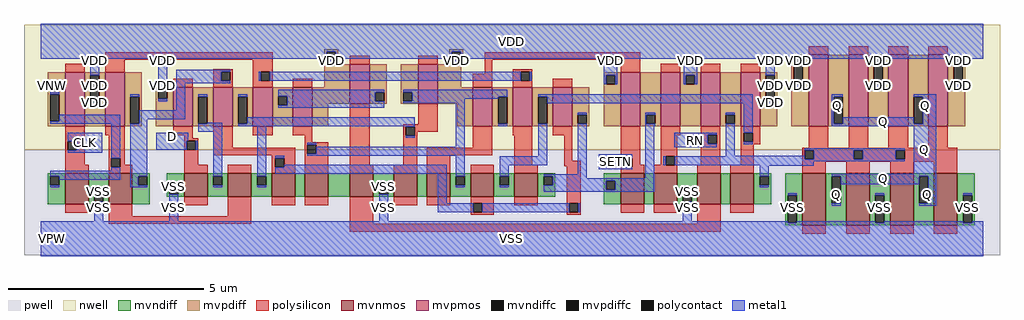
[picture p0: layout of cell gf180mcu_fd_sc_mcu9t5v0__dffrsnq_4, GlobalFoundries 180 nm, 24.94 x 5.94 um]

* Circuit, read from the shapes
.subckt gf180mcu_fd_sc_mcu9t5v0__dffrsnq_4 D RN SETN CLK Q VDD VNW VPW VSS
XM1 VSS CLK n1 VPW nfet_06v0 w=0.79u l=0.6u
XM2 n2 n1 VSS VPW nfet_06v0 w=0.79u l=0.6u
XM3 n3 D VSS VPW nfet_06v0 w=0.59u l=0.6u
XM4 n4 n1 n3 VPW nfet_06v0 w=0.59u l=0.6u
XM5 n5 n2 n4 VPW nfet_06v0 w=0.59u l=0.6u
XM6 n6 n7 n5 VPW nfet_06v0 w=0.59u l=0.6u
XM7 VSS RN n6 VPW nfet_06v0 w=0.59u l=0.6u
XM8 n8 n4 VSS VPW nfet_06v0 w=0.59u l=0.6u
XM9 n7 SETN n8 VPW nfet_06v0 w=0.59u l=0.6u
XM10 n9 n2 n7 VPW nfet_06v0 w=0.59u l=0.6u
XM11 n10 n1 n9 VPW nfet_06v0 w=0.59u l=0.6u
XM12 n11 SETN n10 VPW nfet_06v0 w=0.79u l=0.6u
XM13 VSS n12 n11 VPW nfet_06v0 w=0.79u l=0.6u
XM14 n13 RN VSS VPW nfet_06v0 w=0.79u l=0.6u
XM15 n12 n9 n13 VPW nfet_06v0 w=0.79u l=0.6u
XM16 Q n12 VSS VPW nfet_06v0 w=1.32u l=0.6u m=4
XM17 VDD CLK n1 VNW pfet_06v0 w=1.38u l=0.5u
XM18 n2 n1 VDD VNW pfet_06v0 w=1.38u l=0.5u
XM19 n3 D VDD VNW pfet_06v0 w=1u l=0.5u
XM20 n4 n2 n3 VNW pfet_06v0 w=1u l=0.5u
XM21 n14 n1 n4 VNW pfet_06v0 w=1u l=0.5u
XM22 VDD n7 n14 VNW pfet_06v0 w=1u l=0.5u
XM23 n14 RN VDD VNW pfet_06v0 w=1u l=0.5u
XM24 VDD n4 n7 VNW pfet_06v0 w=1u l=0.5u
XM25 n7 SETN VDD VNW pfet_06v0 w=1u l=0.5u
XM26 n9 n1 n7 VNW pfet_06v0 w=1u l=0.5u
XM27 n10 n2 n9 VNW pfet_06v0 w=1u l=0.5u
XM28 n10 SETN VDD VNW pfet_06v0 w=1.38u l=0.5u
XM29 VDD n12 n10 VNW pfet_06v0 w=1.38u l=0.5u
XM30 n12 RN VDD VNW pfet_06v0 w=1.38u l=0.5u
XM31 VDD n9 n12 VNW pfet_06v0 w=1.38u l=0.5u
XM32 Q n12 VDD VNW pfet_06v0 w=1.83u l=0.5u m=4
.ends

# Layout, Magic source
magic
tech gf180mcuD
magscale 1 10
<< nwell >>
rect -86 453 4902 1094
<< pwell >>
rect -86 -86 4902 453
<< mvnmos >>
rect 124 175 244 333
rect 348 175 468 333
rect 732 215 852 333
rect 956 215 1076 333
rect 1180 215 1300 333
rect 1348 215 1468 333
rect 1580 215 1700 333
rect 1804 215 1924 333
rect 1972 215 2092 333
rect 2196 215 2316 333
rect 2420 215 2540 333
rect 2964 175 3084 333
rect 3132 175 3252 333
rect 3356 175 3476 333
rect 3524 175 3644 333
rect 3892 69 4012 333
rect 4116 69 4236 333
rect 4340 69 4460 333
rect 4564 69 4684 333
<< mvpmos >>
rect 124 573 224 849
rect 328 573 428 849
rect 676 573 776 773
rect 880 573 980 773
rect 1084 573 1184 773
rect 1288 573 1388 773
rect 1580 690 1680 890
rect 1928 690 2028 890
rect 2208 573 2308 773
rect 2412 573 2512 773
rect 2616 573 2716 773
rect 2964 573 3064 849
rect 3168 573 3268 849
rect 3372 573 3472 849
rect 3576 573 3676 849
rect 3924 573 4024 939
rect 4128 573 4228 939
rect 4332 573 4432 939
rect 4536 573 4636 939
<< mvndiff >>
rect 36 320 124 333
rect 36 274 49 320
rect 95 274 124 320
rect 36 175 124 274
rect 244 234 348 333
rect 244 188 273 234
rect 319 188 348 234
rect 244 175 348 188
rect 468 320 556 333
rect 468 274 497 320
rect 543 274 556 320
rect 468 175 556 274
rect 644 274 732 333
rect 644 228 657 274
rect 703 228 732 274
rect 644 215 732 228
rect 852 320 956 333
rect 852 274 881 320
rect 927 274 956 320
rect 852 215 956 274
rect 1076 320 1180 333
rect 1076 274 1105 320
rect 1151 274 1180 320
rect 1076 215 1180 274
rect 1300 215 1348 333
rect 1468 215 1580 333
rect 1700 274 1804 333
rect 1700 228 1729 274
rect 1775 228 1804 274
rect 1700 215 1804 228
rect 1924 215 1972 333
rect 2092 320 2196 333
rect 2092 274 2121 320
rect 2167 274 2196 320
rect 2092 215 2196 274
rect 2316 320 2420 333
rect 2316 274 2345 320
rect 2391 274 2420 320
rect 2316 215 2420 274
rect 2540 319 2628 333
rect 2540 273 2569 319
rect 2615 273 2628 319
rect 2540 215 2628 273
rect 2876 297 2964 333
rect 2876 251 2889 297
rect 2935 251 2964 297
rect 2876 175 2964 251
rect 3084 175 3132 333
rect 3252 234 3356 333
rect 3252 188 3281 234
rect 3327 188 3356 234
rect 3252 175 3356 188
rect 3476 175 3524 333
rect 3644 320 3732 333
rect 3644 274 3673 320
rect 3719 274 3732 320
rect 3644 175 3732 274
rect 3804 222 3892 333
rect 3804 82 3817 222
rect 3863 82 3892 222
rect 3804 69 3892 82
rect 4012 320 4116 333
rect 4012 180 4041 320
rect 4087 180 4116 320
rect 4012 69 4116 180
rect 4236 222 4340 333
rect 4236 82 4265 222
rect 4311 82 4340 222
rect 4236 69 4340 82
rect 4460 320 4564 333
rect 4460 180 4489 320
rect 4535 180 4564 320
rect 4460 69 4564 180
rect 4684 222 4772 333
rect 4684 82 4713 222
rect 4759 82 4772 222
rect 4684 69 4772 82
<< mvpdiff >>
rect 1448 955 1520 968
rect 36 739 124 849
rect 36 599 49 739
rect 95 599 124 739
rect 36 573 124 599
rect 224 836 328 849
rect 224 696 253 836
rect 299 696 328 836
rect 224 573 328 696
rect 428 726 516 849
rect 1448 909 1461 955
rect 1507 909 1520 955
rect 2088 955 2160 968
rect 1448 890 1520 909
rect 2088 909 2101 955
rect 2147 909 2160 955
rect 2088 896 2160 909
rect 2088 890 2148 896
rect 1448 773 1580 890
rect 428 586 457 726
rect 503 586 516 726
rect 428 573 516 586
rect 588 760 676 773
rect 588 714 601 760
rect 647 714 676 760
rect 588 573 676 714
rect 776 726 880 773
rect 776 586 805 726
rect 851 586 880 726
rect 776 573 880 586
rect 980 726 1084 773
rect 980 586 1009 726
rect 1055 586 1084 726
rect 980 573 1084 586
rect 1184 727 1288 773
rect 1184 681 1213 727
rect 1259 681 1288 727
rect 1184 573 1288 681
rect 1388 690 1580 773
rect 1680 749 1768 890
rect 1680 703 1709 749
rect 1755 703 1768 749
rect 1680 690 1768 703
rect 1840 749 1928 890
rect 1840 703 1853 749
rect 1899 703 1928 749
rect 1840 690 1928 703
rect 2028 773 2148 890
rect 3836 926 3924 939
rect 2876 836 2964 849
rect 2876 790 2889 836
rect 2935 790 2964 836
rect 2028 690 2208 773
rect 1388 573 1468 690
rect 2128 573 2208 690
rect 2308 726 2412 773
rect 2308 586 2337 726
rect 2383 586 2412 726
rect 2308 573 2412 586
rect 2512 726 2616 773
rect 2512 586 2541 726
rect 2587 586 2616 726
rect 2512 573 2616 586
rect 2716 632 2804 773
rect 2716 586 2745 632
rect 2791 586 2804 632
rect 2716 573 2804 586
rect 2876 573 2964 790
rect 3064 632 3168 849
rect 3064 586 3093 632
rect 3139 586 3168 632
rect 3064 573 3168 586
rect 3268 836 3372 849
rect 3268 790 3297 836
rect 3343 790 3372 836
rect 3268 573 3372 790
rect 3472 632 3576 849
rect 3472 586 3501 632
rect 3547 586 3576 632
rect 3472 573 3576 586
rect 3676 836 3764 849
rect 3676 696 3705 836
rect 3751 696 3764 836
rect 3676 573 3764 696
rect 3836 786 3849 926
rect 3895 786 3924 926
rect 3836 573 3924 786
rect 4024 726 4128 939
rect 4024 586 4053 726
rect 4099 586 4128 726
rect 4024 573 4128 586
rect 4228 926 4332 939
rect 4228 786 4257 926
rect 4303 786 4332 926
rect 4228 573 4332 786
rect 4432 726 4536 939
rect 4432 586 4461 726
rect 4507 586 4536 726
rect 4432 573 4536 586
rect 4636 926 4724 939
rect 4636 786 4665 926
rect 4711 786 4724 926
rect 4636 573 4724 786
<< mvndiffc >>
rect 49 274 95 320
rect 273 188 319 234
rect 497 274 543 320
rect 657 228 703 274
rect 881 274 927 320
rect 1105 274 1151 320
rect 1729 228 1775 274
rect 2121 274 2167 320
rect 2345 274 2391 320
rect 2569 273 2615 319
rect 2889 251 2935 297
rect 3281 188 3327 234
rect 3673 274 3719 320
rect 3817 82 3863 222
rect 4041 180 4087 320
rect 4265 82 4311 222
rect 4489 180 4535 320
rect 4713 82 4759 222
<< mvpdiffc >>
rect 49 599 95 739
rect 253 696 299 836
rect 1461 909 1507 955
rect 2101 909 2147 955
rect 457 586 503 726
rect 601 714 647 760
rect 805 586 851 726
rect 1009 586 1055 726
rect 1213 681 1259 727
rect 1709 703 1755 749
rect 1853 703 1899 749
rect 2889 790 2935 836
rect 2337 586 2383 726
rect 2541 586 2587 726
rect 2745 586 2791 632
rect 3093 586 3139 632
rect 3297 790 3343 836
rect 3501 586 3547 632
rect 3705 696 3751 836
rect 3849 786 3895 926
rect 4053 586 4099 726
rect 4257 786 4303 926
rect 4461 586 4507 726
rect 4665 786 4711 926
<< polysilicon >>
rect 328 913 1184 953
rect 124 849 224 893
rect 328 849 428 913
rect 880 852 980 865
rect 676 773 776 817
rect 880 806 921 852
rect 967 806 980 852
rect 880 773 980 806
rect 1084 852 1184 913
rect 1084 806 1125 852
rect 1171 806 1184 852
rect 1580 890 1680 934
rect 1928 890 2028 934
rect 2268 913 3064 953
rect 3924 939 4024 983
rect 4128 939 4228 983
rect 4332 939 4432 983
rect 4536 939 4636 983
rect 1084 773 1184 806
rect 1288 773 1388 817
rect 2268 843 2308 913
rect 2208 773 2308 843
rect 2412 852 2512 865
rect 2412 806 2453 852
rect 2499 806 2512 852
rect 2964 849 3064 913
rect 3168 849 3268 893
rect 3372 849 3472 893
rect 3576 849 3676 893
rect 2412 773 2512 806
rect 2616 773 2716 817
rect 124 497 224 573
rect 328 529 428 573
rect 676 529 776 573
rect 124 451 137 497
rect 183 451 224 497
rect 124 377 224 451
rect 348 412 428 529
rect 124 333 244 377
rect 348 366 361 412
rect 407 377 428 412
rect 732 513 776 529
rect 732 500 804 513
rect 732 454 745 500
rect 791 454 804 500
rect 732 377 804 454
rect 880 465 980 573
rect 1084 529 1184 573
rect 1288 529 1388 573
rect 1348 493 1388 529
rect 1348 480 1468 493
rect 880 425 1300 465
rect 1180 412 1300 425
rect 407 366 468 377
rect 348 333 468 366
rect 732 333 852 377
rect 956 333 1076 377
rect 1180 366 1197 412
rect 1243 366 1300 412
rect 1180 333 1300 366
rect 1348 434 1361 480
rect 1407 434 1468 480
rect 1348 333 1468 434
rect 1580 377 1680 690
rect 1928 585 2028 690
rect 1852 572 2028 585
rect 1852 526 1865 572
rect 1911 545 2028 572
rect 1911 526 1924 545
rect 1852 377 1924 526
rect 2208 465 2308 573
rect 2412 529 2512 573
rect 2616 529 2716 573
rect 1580 333 1700 377
rect 1804 333 1924 377
rect 1972 425 2308 465
rect 1972 333 2092 425
rect 2420 377 2512 529
rect 2676 398 2716 529
rect 2964 412 3064 573
rect 2196 333 2316 377
rect 2420 333 2540 377
rect 2676 369 2760 398
rect 124 131 244 175
rect 348 115 468 175
rect 732 171 852 215
rect 956 115 1076 215
rect 1180 171 1300 215
rect 1348 171 1468 215
rect 348 75 1076 115
rect 1580 75 1700 215
rect 1804 171 1924 215
rect 1972 171 2092 215
rect 2196 182 2316 215
rect 2196 136 2209 182
rect 2255 136 2316 182
rect 2420 171 2540 215
rect 2688 182 2760 369
rect 2964 366 2977 412
rect 3023 377 3064 412
rect 3168 529 3268 573
rect 3372 531 3472 573
rect 3168 420 3252 529
rect 3168 377 3193 420
rect 3023 366 3084 377
rect 2964 333 3084 366
rect 3132 374 3193 377
rect 3239 374 3252 420
rect 3372 485 3409 531
rect 3455 485 3472 531
rect 3372 377 3472 485
rect 3576 540 3676 573
rect 3576 494 3593 540
rect 3639 494 3676 540
rect 3576 482 3676 494
rect 3576 377 3644 482
rect 3924 465 4024 573
rect 4128 465 4228 573
rect 4332 465 4432 573
rect 4536 465 4636 573
rect 3132 333 3252 374
rect 3356 333 3476 377
rect 3524 333 3644 377
rect 3892 452 4684 465
rect 3892 406 3905 452
rect 3951 406 4155 452
rect 4201 406 4368 452
rect 4414 406 4684 452
rect 3892 393 4684 406
rect 3892 333 4012 393
rect 4116 333 4236 393
rect 4340 333 4460 393
rect 4564 333 4684 393
rect 2196 123 2316 136
rect 2688 136 2701 182
rect 2747 136 2760 182
rect 2688 123 2760 136
rect 2964 131 3084 175
rect 3132 131 3252 175
rect 3356 75 3476 175
rect 3524 131 3644 175
rect 1580 35 3476 75
rect 3892 25 4012 69
rect 4116 25 4236 69
rect 4340 25 4460 69
rect 4564 25 4684 69
<< polycontact >>
rect 921 806 967 852
rect 1125 806 1171 852
rect 2453 806 2499 852
rect 137 451 183 497
rect 361 366 407 412
rect 745 454 791 500
rect 1197 366 1243 412
rect 1361 434 1407 480
rect 1865 526 1911 572
rect 2209 136 2255 182
rect 2977 366 3023 412
rect 3193 374 3239 420
rect 3409 485 3455 531
rect 3593 494 3639 540
rect 3905 406 3951 452
rect 4155 406 4201 452
rect 4368 406 4414 452
rect 2701 136 2747 182
<< metal1 >>
rect 0 955 4816 1098
rect 0 918 1461 955
rect 253 836 299 918
rect 49 739 95 750
rect 601 760 647 918
rect 1507 918 2101 955
rect 1461 898 1507 909
rect 2147 926 4816 955
rect 2147 918 3849 926
rect 2101 898 2147 909
rect 253 685 299 696
rect 457 726 503 737
rect 95 599 407 634
rect 49 588 407 599
rect 137 497 315 542
rect 183 451 315 497
rect 137 440 315 451
rect 361 412 407 588
rect 361 348 407 366
rect 49 320 407 348
rect 95 302 407 320
rect 601 703 647 714
rect 693 852 967 863
rect 693 806 921 852
rect 1114 806 1125 852
rect 1171 806 2453 852
rect 2499 806 2510 852
rect 2878 836 2946 918
rect 693 795 967 806
rect 693 657 739 795
rect 2878 790 2889 836
rect 2935 790 2946 836
rect 3286 836 3354 918
rect 3286 790 3297 836
rect 3343 790 3354 836
rect 3705 836 3751 918
rect 1213 749 1755 760
rect 503 611 739 657
rect 805 726 851 737
rect 503 586 543 611
rect 457 320 543 586
rect 1009 726 1055 737
rect 851 586 927 592
rect 805 546 927 586
rect 1213 727 1709 749
rect 1259 703 1709 727
rect 1259 681 1755 703
rect 1853 749 2383 760
rect 1899 726 2383 749
rect 1899 714 2337 726
rect 1899 703 2167 714
rect 1853 692 2167 703
rect 1213 670 1755 681
rect 1055 586 1911 621
rect 1009 575 1911 586
rect 589 500 754 542
rect 589 454 745 500
rect 791 454 802 500
rect 49 263 95 274
rect 457 274 497 320
rect 881 320 927 546
rect 457 263 543 274
rect 657 274 703 285
rect 273 234 319 245
rect 273 90 319 188
rect 881 263 927 274
rect 1105 320 1151 575
rect 1865 572 1911 575
rect 1865 515 1911 526
rect 1361 480 1407 491
rect 2121 469 2167 692
rect 2337 575 2383 586
rect 2541 726 3639 737
rect 2587 691 3639 726
rect 1407 434 2167 469
rect 1361 423 2167 434
rect 1197 412 1243 423
rect 1243 366 2075 377
rect 1197 331 2075 366
rect 1105 263 1151 274
rect 1729 274 1775 285
rect 657 90 703 228
rect 1729 90 1775 228
rect 2029 182 2075 331
rect 2121 320 2167 423
rect 2541 422 2587 586
rect 2121 263 2167 274
rect 2345 376 2587 422
rect 2745 632 2791 643
rect 2345 320 2391 376
rect 2745 330 2791 586
rect 3090 632 3139 643
rect 3090 586 3093 632
rect 3090 575 3139 586
rect 3501 632 3547 643
rect 2852 412 3023 430
rect 2852 366 2977 412
rect 2852 354 3023 366
rect 2345 263 2391 274
rect 2569 319 2791 330
rect 2615 308 2791 319
rect 3090 308 3136 575
rect 3237 531 3455 542
rect 3237 485 3409 531
rect 3237 466 3455 485
rect 3501 423 3547 586
rect 3593 540 3639 691
rect 3895 918 4257 926
rect 3849 775 3895 786
rect 4303 918 4665 926
rect 4257 775 4303 786
rect 4711 918 4816 926
rect 4665 775 4711 786
rect 3705 685 3751 696
rect 4041 726 4099 737
rect 4041 586 4053 726
rect 4461 726 4577 737
rect 4099 586 4461 621
rect 4507 586 4577 726
rect 4041 575 4577 586
rect 3593 483 3639 494
rect 3904 452 4414 463
rect 3904 423 3905 452
rect 3501 420 3905 423
rect 3182 374 3193 420
rect 3239 406 3905 420
rect 3951 406 4155 452
rect 4201 406 4368 452
rect 3239 395 4414 406
rect 3239 374 3951 395
rect 2615 297 3136 308
rect 2615 273 2889 297
rect 2569 251 2889 273
rect 2935 251 3136 297
rect 3673 373 3951 374
rect 3673 320 3719 373
rect 4460 331 4577 575
rect 3673 263 3719 274
rect 4041 320 4577 331
rect 2569 240 3136 251
rect 3281 234 3327 245
rect 2029 136 2209 182
rect 2255 136 2701 182
rect 2747 136 2758 182
rect 3281 90 3327 188
rect 3817 222 3863 233
rect 0 82 3817 90
rect 4087 279 4489 320
rect 4041 169 4087 180
rect 4265 222 4311 233
rect 3863 82 4265 90
rect 4535 180 4577 320
rect 4489 169 4577 180
rect 4713 222 4759 233
rect 4311 82 4713 90
rect 4759 82 4816 90
rect 0 -90 4816 82
<< labels >>
flabel metal1 s 137 440 315 542 0 FreeSans 200 0 0 0 CLK
port 4 nsew clock input
flabel metal1 s 589 500 754 542 0 FreeSans 200 0 0 0 D
port 1 nsew default input
flabel metal1 s 4461 621 4577 737 0 FreeSans 200 0 0 0 Q
port 5 nsew default output
flabel metal1 s 3237 466 3455 542 0 FreeSans 200 0 0 0 RN
port 2 nsew default input
flabel metal1 s 2852 354 3023 430 0 FreeSans 200 0 0 0 SETN
port 3 nsew default input
flabel metal1 s 0 918 4816 1098 0 FreeSans 200 0 0 0 VDD
port 6 nsew power bidirectional abutment
flabel metal1 s 1729 245 1775 285 0 FreeSans 200 0 0 0 VSS
port 9 nsew ground bidirectional abutment
flabel nwell s 10 734 110 834 0 FreeSans 400 0 0 0 VNW
port 7 nsew power bidirectional
flabel pwell s 10 -50 110 50 0 FreeSans 400 0 0 0 VPW
port 8 nsew ground bidirectional
rlabel metal1 s 589 454 802 500 1 D
port 1 nsew default input
rlabel metal1 s 4041 621 4099 737 1 Q
port 5 nsew default output
rlabel metal1 s 4041 575 4577 621 1 Q
port 5 nsew default output
rlabel metal1 s 4460 331 4577 575 1 Q
port 5 nsew default output
rlabel metal1 s 4041 279 4577 331 1 Q
port 5 nsew default output
rlabel metal1 s 4489 169 4577 279 1 Q
port 5 nsew default output
rlabel metal1 s 4041 169 4087 279 1 Q
port 5 nsew default output
rlabel metal1 s 4665 898 4711 918 1 VDD
port 6 nsew power bidirectional abutment
rlabel metal1 s 4257 898 4303 918 1 VDD
port 6 nsew power bidirectional abutment
rlabel metal1 s 3849 898 3895 918 1 VDD
port 6 nsew power bidirectional abutment
rlabel metal1 s 3705 898 3751 918 1 VDD
port 6 nsew power bidirectional abutment
rlabel metal1 s 3286 898 3354 918 1 VDD
port 6 nsew power bidirectional abutment
rlabel metal1 s 2878 898 2946 918 1 VDD
port 6 nsew power bidirectional abutment
rlabel metal1 s 2101 898 2147 918 1 VDD
port 6 nsew power bidirectional abutment
rlabel metal1 s 1461 898 1507 918 1 VDD
port 6 nsew power bidirectional abutment
rlabel metal1 s 601 898 647 918 1 VDD
port 6 nsew power bidirectional abutment
rlabel metal1 s 253 898 299 918 1 VDD
port 6 nsew power bidirectional abutment
rlabel metal1 s 4665 790 4711 898 1 VDD
port 6 nsew power bidirectional abutment
rlabel metal1 s 4257 790 4303 898 1 VDD
port 6 nsew power bidirectional abutment
rlabel metal1 s 3849 790 3895 898 1 VDD
port 6 nsew power bidirectional abutment
rlabel metal1 s 3705 790 3751 898 1 VDD
port 6 nsew power bidirectional abutment
rlabel metal1 s 3286 790 3354 898 1 VDD
port 6 nsew power bidirectional abutment
rlabel metal1 s 2878 790 2946 898 1 VDD
port 6 nsew power bidirectional abutment
rlabel metal1 s 601 790 647 898 1 VDD
port 6 nsew power bidirectional abutment
rlabel metal1 s 253 790 299 898 1 VDD
port 6 nsew power bidirectional abutment
rlabel metal1 s 4665 775 4711 790 1 VDD
port 6 nsew power bidirectional abutment
rlabel metal1 s 4257 775 4303 790 1 VDD
port 6 nsew power bidirectional abutment
rlabel metal1 s 3849 775 3895 790 1 VDD
port 6 nsew power bidirectional abutment
rlabel metal1 s 3705 775 3751 790 1 VDD
port 6 nsew power bidirectional abutment
rlabel metal1 s 601 775 647 790 1 VDD
port 6 nsew power bidirectional abutment
rlabel metal1 s 253 775 299 790 1 VDD
port 6 nsew power bidirectional abutment
rlabel metal1 s 3705 703 3751 775 1 VDD
port 6 nsew power bidirectional abutment
rlabel metal1 s 601 703 647 775 1 VDD
port 6 nsew power bidirectional abutment
rlabel metal1 s 253 703 299 775 1 VDD
port 6 nsew power bidirectional abutment
rlabel metal1 s 3705 685 3751 703 1 VDD
port 6 nsew power bidirectional abutment
rlabel metal1 s 253 685 299 703 1 VDD
port 6 nsew power bidirectional abutment
rlabel metal1 s 657 245 703 285 1 VSS
port 9 nsew ground bidirectional abutment
rlabel metal1 s 3281 233 3327 245 1 VSS
port 9 nsew ground bidirectional abutment
rlabel metal1 s 1729 233 1775 245 1 VSS
port 9 nsew ground bidirectional abutment
rlabel metal1 s 657 233 703 245 1 VSS
port 9 nsew ground bidirectional abutment
rlabel metal1 s 273 233 319 245 1 VSS
port 9 nsew ground bidirectional abutment
rlabel metal1 s 4713 90 4759 233 1 VSS
port 9 nsew ground bidirectional abutment
rlabel metal1 s 4265 90 4311 233 1 VSS
port 9 nsew ground bidirectional abutment
rlabel metal1 s 3817 90 3863 233 1 VSS
port 9 nsew ground bidirectional abutment
rlabel metal1 s 3281 90 3327 233 1 VSS
port 9 nsew ground bidirectional abutment
rlabel metal1 s 1729 90 1775 233 1 VSS
port 9 nsew ground bidirectional abutment
rlabel metal1 s 657 90 703 233 1 VSS
port 9 nsew ground bidirectional abutment
rlabel metal1 s 273 90 319 233 1 VSS
port 9 nsew ground bidirectional abutment
rlabel metal1 s 0 -90 4816 90 1 VSS
port 9 nsew ground bidirectional abutment
<< properties >>
string FIXED_BBOX 0 0 4816 1008
string GDS_END 664490
string GDS_FILE $PDKPATH/libs.ref/gf180mcu_fd_sc_mcu9t5v0/gds/gf180mcu_fd_sc_mcu9t5v0.gds
string GDS_START 653350
string LEFclass core
string LEFsite GF018hv5v_green_sc9
string LEFsymmetry X Y
<< end >>
